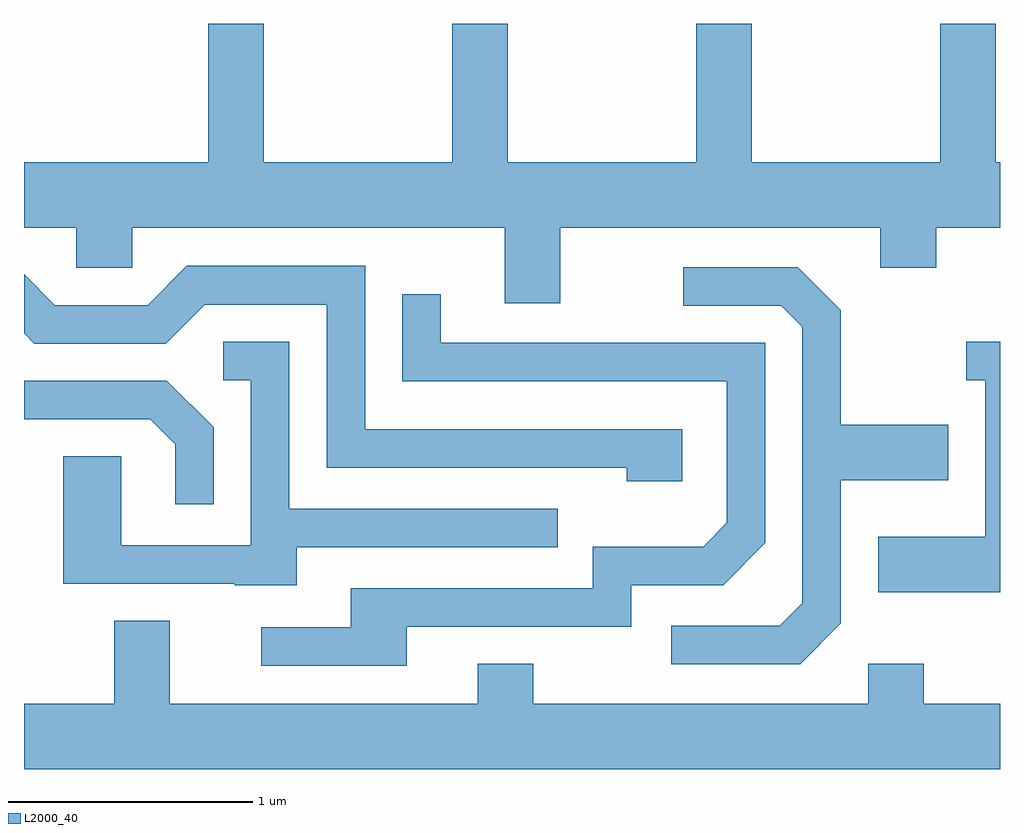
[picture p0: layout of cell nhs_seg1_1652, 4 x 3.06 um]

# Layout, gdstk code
import gdstk
lib = gdstk.Library(unit=1e-6, precision=1e-09)
def P(c, l, *ps):  # polygons
    for p in ps: c.add(gdstk.Polygon(p, *l))
L2000_40 = (2000, 40)

nhs_seg1_1652 = lib.new_cell('nhs_seg1_1652')
P(nhs_seg1_1652, L2000_40, [(239.611,933.144),(239.594,933.144),(239.594,933.712),(239.366,933.712),(239.366,933.144),(238.594,933.144),(238.594,933.712),(238.366,933.712),(238.366,933.144),(237.594,933.144),(237.594,933.712),(237.366,933.712),(237.366,933.144),(236.594,933.144),(236.594,933.712),(236.366,933.712),(236.366,933.144),(235.611,933.144),(235.611,932.876),(235.826,932.876),(235.826,932.711),(236.054,932.711),(236.054,932.876),(237.581,932.876),(237.581,932.566),(237.809,932.566),(237.809,932.876),(239.121,932.876),(239.121,932.711),(239.349,932.711),(239.349,932.876),(239.611,932.876)],
  [(238.309,932.049),(237.009,932.049),(237.009,932.719),(236.279,932.719),(236.119,932.559),(235.737,932.559),(235.611,932.685),(235.611,932.444),(235.654,932.401),(236.192,932.401),(236.352,932.561),(236.851,932.561),(236.851,931.891),(238.081,931.891),(238.081,931.836),(238.309,931.836)],
  [(238.959,931.254),(238.959,931.841),(239.399,931.841),(239.399,932.069),(238.959,932.069),(238.959,932.537),(238.782,932.714),(238.313,932.714),(238.313,932.556),(238.714,932.556),(238.801,932.469),(238.801,931.337),(238.709,931.244),(238.263,931.244),(238.263,931.086),(238.792,931.086)],
  [(237.179,931.241),(238.099,931.241),(238.099,931.411),(238.477,931.411),(238.649,931.584),(238.649,932.404),(237.319,932.404),(237.319,932.603),(237.161,932.603),(237.161,932.246),(238.491,932.246),(238.491,931.667),(238.394,931.569),(237.941,931.569),(237.941,931.399),(236.951,931.399),(236.951,931.239),(236.583,931.239),(236.583,931.081),(237.179,931.081)],
  [(236.729,931.566),(237.798,931.566),(237.798,931.724),(236.699,931.724),(236.699,932.409),(236.428,932.409),(236.428,932.251),(236.541,932.251),(236.541,931.574),(236.009,931.574),(236.009,931.939),(235.771,931.939),(235.771,931.416),(236.475,931.416),(236.475,931.411),(236.729,931.411)],
  [(239.611,932.409),(239.473,932.409),(239.473,932.251),(239.551,932.251),(239.551,931.609),(239.111,931.609),(239.111,931.381),(239.611,931.381)],
  [(236.389,932.057),(236.197,932.249),(235.611,932.249),(235.611,932.091),(236.129,932.091),(236.231,931.989),(236.231,931.743),(236.389,931.743)],
  [(239.611,930.924),(239.299,930.924),(239.299,931.089),(239.071,931.089),(239.071,930.924),(237.699,930.924),(237.699,931.089),(237.471,931.089),(237.471,930.924),(236.209,930.924),(236.209,931.264),(235.981,931.264),(235.981,930.924),(235.611,930.924),(235.611,930.656),(239.611,930.656)])

lib.write_gds('nhs_seg1_1652.gds')
